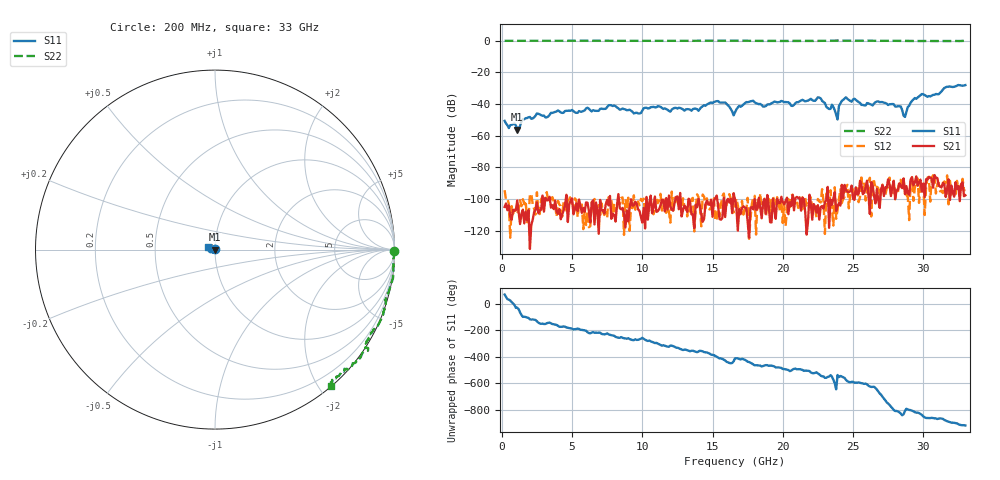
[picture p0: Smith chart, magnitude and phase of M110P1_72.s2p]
# GHZ S RI R 50
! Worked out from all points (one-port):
!   329 points, 200 MHz to 33 GHz, reference 50 ohm
!   lowest |S11| = -56.2 dB at 1.1 GHz (marker M1), VSWR 1.00, Z = 50.1 - j0.0751 ohm
!   |S11| at or under -10 dB: start of sweep to end of sweep
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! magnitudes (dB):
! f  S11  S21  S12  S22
! 200 MHz  -50.6  -105.0  -94.4  0.0
! 1.1 GHz  -56.2  -100.9  -108.9  0.0
! 1.5 GHz  -49.6  -106.7  -100.1  0.0
! 2.5 GHz  -46.0  -102.2  -95.7  0.0
! 5.7 GHz  -44.8  -108.8  -103.5  0.0
! 11.2 GHz  -41.5  -106.4  -101.2  -0.1
! 14 GHz  -44.3  -99.8  -98.7  0.0
! 15.4 GHz  -38.1  -104.6  -102.5  0.0
! 16.6 GHz  -45.2  -100.1  -104.9  0.0
! 17.8 GHz  -38.1  -105.2  -103.2  0.0
! 18.7 GHz  -41.6  -99.8  -102.3  -0.1
! 22.1 GHz  -37.5  -113.1  -105.8  -0.1
! 23.5 GHz  -40.4  -103.6  -106.0  0.0
! 23.9 GHz  -49.7  -104.6  -106.8  0.2
! 24 GHz  -41.3  -102.6  -99.8  0.1
! 24.5 GHz  -35.7  -94.5  -92.9  0.0
! 27.6 GHz  -40.2  -90.6  -86.5  0.0
! 28.4 GHz  -41.5  -92.0  -87.9  -0.1
! 28.7 GHz  -48.1  -96.9  -95.6  -0.2
! 29.2 GHz  -38.0  -86.2  -86.6  -0.1
! 29.9 GHz  -33.7  -95.4  -90.1  -0.1
! 33 GHz  -28.0  -97.6  -94.3  0.0
